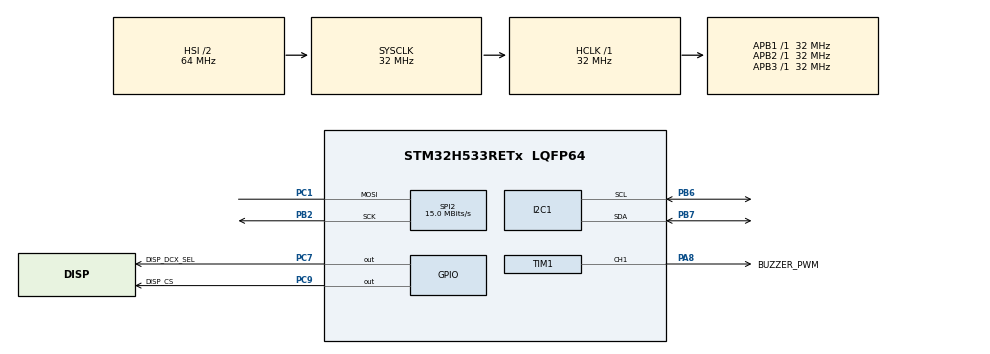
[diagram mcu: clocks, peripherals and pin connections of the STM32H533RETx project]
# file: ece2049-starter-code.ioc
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BOOTPATH.BootPathName=LEGACY
BOOTPATH.UserSelectedBootPath=LEGACY
CORTEX_M33_NS.Number-Cortex_Memory_Protection_Unit_Region0_OTP_RO_AREAS_Settings=MPU_REGION_NUMBER0
CORTEX_M33_NS.default_mode_Activation=1
CORTEX_M33_NS.userName=CORTEX_M33
GPDMA1.DESTINC_GPDMACH5=DMA_DINC_INCREMENTED
GPDMA1.DIRECTION_GPDMACH6=DMA_MEMORY_TO_PERIPH
GPDMA1.DIRECTION_GPDMACH7=DMA_MEMORY_TO_PERIPH
GPDMA1.IPHANDLE_GPDMACH5-SIMPLEREQUEST_GPDMACH5=__NULL
GPDMA1.IPHANDLE_GPDMACH6-SIMPLEREQUEST_GPDMACH6=__NULL
GPDMA1.IPHANDLE_GPDMACH7-SIMPLEREQUEST_GPDMACH7=__NULL
GPDMA1.PRIORITY_GPDMACH6=DMA_LOW_PRIORITY_LOW_WEIGHT
GPDMA1.PRIORITY_GPDMACH7=DMA_LOW_PRIORITY_HIGH_WEIGHT
GPDMA1.REQUEST_GPDMACH5=GPDMA1_REQUEST_I2C1_RX
GPDMA1.REQUEST_GPDMACH6=GPDMA1_REQUEST_I2C1_TX
GPDMA1.REQUEST_GPDMACH7=GPDMA1_REQUEST_SPI2_TX
GPDMA1.SRCINC_GPDMACH6=DMA_SINC_INCREMENTED
GPDMA1.SRCINC_GPDMACH7=DMA_SINC_INCREMENTED
I2C1.Timing=0x00707CBB
Mcu.Family=STM32H5
Mcu.Name=STM32H533RETx
Mcu.Package=LQFP64
NUCLEO-H533RE.BUTTON=1
NUCLEO-H533RE.LD4=true
NUCLEO-H533RE.VCP=true
NVIC.EXTI13_IRQn=true\:0\:0\:false\:false\:true\:false\:true\:true
NVIC.GPDMA1_Channel5_IRQn=true\:0\:0\:false\:false\:true\:false\:true\:true
NVIC.GPDMA1_Channel6_IRQn=true\:0\:0\:false\:false\:true\:false\:true\:true
NVIC.GPDMA1_Channel7_IRQn=true\:0\:0\:false\:false\:true\:false\:true\:true
NVIC.I2C1_ER_IRQn=true\:0\:0\:false\:false\:true\:true\:true\:true
NVIC.I2C1_EV_IRQn=true\:0\:0\:false\:false\:true\:true\:true\:true
NVIC.PriorityGroup=NVIC_PRIORITYGROUP_4
NVIC.SPI2_IRQn=true\:0\:0\:false\:false\:true\:true\:true\:true
PA13(JTMS/SWDIO).GPIO_Label=SWDIO
PA13(JTMS/SWDIO).Signal=DEBUG_JTMS-SWDIO
PA14(JTCK/SWCLK).GPIO_Label=SWCLK
PA14(JTCK/SWCLK).Signal=DEBUG_JTCK-SWCLK
PA15(JTDI).GPIO_Label=JTDI
PA15(JTDI).Signal=DEBUG_JTDI
PA2.Signal=USART2_TX
PA3.Signal=USART2_RX
PA8.GPIO_Label=BUZZER_PWM
PA8.GPIO_Speed=GPIO_SPEED_FREQ_LOW
PA8.Signal=S_TIM1_CH1
PB2.GPIO_Speed=GPIO_SPEED_FREQ_VERY_HIGH
PB2.Mode=Simplex_Bidirectional_Master
PB2.Signal=SPI2_SCK
PB3(JTDO/TRACESWO).GPIO_Label=SWO
PB3(JTDO/TRACESWO).Signal=DEBUG_JTDO-SWO
PB6.GPIO_Pu=GPIO_PULLUP
PB6.GPIO_Speed=GPIO_SPEED_FREQ_VERY_HIGH
PB6.Mode=I2C
PB6.Signal=I2C1_SCL
PB7.GPIO_Pu=GPIO_PULLUP
PB7.GPIO_Speed=GPIO_SPEED_FREQ_VERY_HIGH
PB7.Mode=I2C
PB7.Signal=I2C1_SDA
PC1.GPIO_Speed=GPIO_SPEED_FREQ_VERY_HIGH
PC1.Mode=Simplex_Bidirectional_Master
PC1.Signal=SPI2_MOSI
PC7.GPIO_Label=DISP_DCX_SEL
PC7.GPIO_Speed=GPIO_SPEED_FREQ_VERY_HIGH
PC7.Signal=GPIO_Output
PC9.GPIO_Label=DISP_CS
PC9.GPIO_PuPd=GPIO_PULLUP
PC9.GPIO_Speed=GPIO_SPEED_FREQ_VERY_HIGH
PC9.PinState=GPIO_PIN_SET
PC9.Signal=GPIO_Output
ProjectManager.HeapSize=0x200
ProjectManager.StackSize=0x400
ProjectManager.TargetToolchain=CMake
RCC.ADCFreq_Value=32000000
RCC.AHBFreq_Value=32000000
RCC.APB1Freq_Value=32000000
RCC.APB1TimFreq_Value=32000000
RCC.APB2Freq_Value=32000000
RCC.APB2TimFreq_Value=32000000
RCC.APB3Freq_Value=32000000
RCC.CSI_VALUE=4000000
RCC.CortexFreq_Value=32000000
RCC.EPOD_VALUE=4000000
RCC.HCLKFreq_Value=32000000
RCC.HSE_VALUE=25000000
RCC.HSI48_VALUE=48000000
RCC.HSI_VALUE=64000000
RCC.LSE_VALUE=32768
RCC.LSIRC_VALUE=32000
RCC.PLL1Q=6
RCC.PLLFRACN=0
RCC.PLLN=45
RCC.SYSCLKFreq_VALUE=32000000
RCC.USBFreq_Value=48000000
RCC.VCOOutputFreq_Value=180000000
SH.S_TIM1_CH1.0=TIM1_CH1,PWM Generation1 CH1
SPI2.CalculateBaudRate=15.0 MBits/s
SPI2.DataSize=SPI_DATASIZE_8BIT
SPI2.Direction=SPI_DIRECTION_1LINE
SPI2.Mode=SPI_MODE_MASTER
SPI2.VirtualType=VM_MASTER
TIM1.Channel-PWM\ Generation1\ CH1=TIM_CHANNEL_1
TIM1.OCFastMode_PWM-PWM\ Generation1\ CH1=TIM_OCFAST_DISABLE
TIM1.PeriodNoDither=1400
TIM1.PulseNoDither_1=600
VP_BOOTPATH_VS_BOOTPATH.Mode=BP_Activate
VP_CORTEX_M33_NS_VS_Hclk.Mode=Hclk_Mode
VP_GPDMA1_VS_GPDMACH5.Mode=SIMPLEREQUEST_GPDMACH5
VP_GPDMA1_VS_GPDMACH6.Mode=SIMPLEREQUEST_GPDMACH6
VP_GPDMA1_VS_GPDMACH7.Mode=SIMPLEREQUEST_GPDMACH7
VP_ICACHE_VS_ICACHE.Mode=DefaultMode
VP_MEMORYMAP_VS_MEMORYMAP.Mode=CurAppReg
VP_NUCLEO-H533RE_VS_BSP_COMMON.Mode=COMMON
VP_PWR_VS_LPOM.Mode=PowerOptimisation
VP_PWR_VS_SECSignals.Mode=Security/Privilege
VP_RNG_VS_RNG.Mode=RNG_Activate
board=NUCLEO-H533RE

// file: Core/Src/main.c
/* USER CODE BEGIN Header */
/**
  ******************************************************************************
  * @file           : main.c
  * @brief          : Main program body
  ******************************************************************************
  * @attention
  *
  * Copyright (c) 2026 STMicroelectronics.
  * All rights reserved.
  *
  * This software is licensed under terms that can be found in the LICENSE file
  * in the root directory of this software component.
  * If no LICENSE file comes with this software, it is provided AS-IS.
  *
  ******************************************************************************
  */
/* USER CODE END Header */
#include "main.h"

/* USER CODE BEGIN Includes */

#include "Adafruit_ST7735_Macros.h"
#include "Adafruit_TFTShield18_Macros.h"
#include "dwt_module.h"
#include "Adafruit_TFTShield18_API.h"
#include "Adafruit_ST7735_API.h"
#include "stm32h5xx_hal.h"

#include "buzzer.h"
#include "stm32h5xx_hal_tim.h"

/* USER CODE END Includes */

COM_InitTypeDef BspCOMInit;

I2C_HandleTypeDef hi2c1;
DMA_HandleTypeDef handle_GPDMA1_Channel6;
DMA_HandleTypeDef handle_GPDMA1_Channel5;

RNG_HandleTypeDef hrng;

SPI_HandleTypeDef hspi2;
DMA_HandleTypeDef handle_GPDMA1_Channel7;

TIM_HandleTypeDef htim1;

/* USER CODE BEGIN PV */

Buzzer buzzer1 = {
  &htim1,
  TIM_CHANNEL_1,
  false
};

extern Note const chromaticScale[NUM_NOTES];

/* USER CODE END PV */

void SystemClock_Config(void);
static void MPU_Config(void);
static void MX_GPIO_Init(void);
static void MX_GPDMA1_Init(void);
static void MX_I2C1_Init(void);
static void MX_ICACHE_Init(void);
static void MX_SPI2_Init(void);
static void MX_RNG_Init(void);
static void MX_TIM1_Init(void);

int main(void)
{

  /* MCU Configuration--------------------------------------------------------*/

  /* MPU Configuration--------------------------------------------------------*/
  MPU_Config();

  /* Reset of all peripherals, Initializes the Flash interface and the Systick. */
  HAL_Init();

  /* Configure the system clock */
  SystemClock_Config();

  /* Initialize all configured peripherals */
  MX_GPIO_Init();
  MX_GPDMA1_Init();
  MX_I2C1_Init();
  MX_ICACHE_Init();
  MX_SPI2_Init();
  MX_RNG_Init();
  MX_TIM1_Init();

  /* Initialize leds */
  BSP_LED_Init(LED_GREEN);

  /* Initialize USER push-button, will be used to trigger an interrupt each time it's pressed.*/
  BSP_PB_Init(BUTTON_USER, BUTTON_MODE_EXTI);

  /* Initialize COM1 port (115200, 8 bits (7-bit data + 1 stop bit), no parity */
  BspCOMInit.BaudRate   = 115200;
  BspCOMInit.WordLength = COM_WORDLENGTH_8B;
  BspCOMInit.StopBits   = COM_STOPBITS_1;
  BspCOMInit.Parity     = COM_PARITY_NONE;
  BspCOMInit.HwFlowCtl  = COM_HWCONTROL_NONE;
  if (BSP_COM_Init(COM1, &BspCOMInit) != BSP_ERROR_NONE)
  {
    Error_Handler();
  }

  /* Infinite loop */
  /* USER CODE BEGIN WHILE */

  // Enable the DWT delay timer module
  DWT_Init();
  if(!DWT_CheckInitialized()) printf("DWT failed to initialize!\n\r");

  // Initialize the TFT shield object in code and on chip, with failure handling
  TFTShield18_create(&hi2c1);
  if (!TFTShield18_begin())
  {
    printf("Failed to initialize TFT shield!\n\r");
    return 1;
  } else {
    printf("TFT shield initialized successfully!\n\r");
  }

  // Software reset the entire TFT shield to restore it to a known empty startup state
  TFTShield18_tftReset(true);
  DWT_delayMs(100);

  // Initialize the display object and the display itself to support graphics operations. No error handling is
  // provided since there is no way to read the status from the display. Proper operation of the display and response
  // to graphics commands provide enough confidence that the display is working correctly.
  Display_create(&hspi2, DISP_CS_Pin, DISP_CS_GPIO_Port, DISP_DCX_SEL_Pin, DISP_DCX_SEL_GPIO_Port);
  Display_init(INITR_BLACKTAB);
  DWT_delayMs(100);

  // Set the display to be in landscape mode and clear the screen
  Display_setRotation(1);
  Display_fillScreen(ST77XX_WHITE);

  // Turn on the TFT shield backlight to its maximum value
  TFTShield18_setBacklight(TFTSHIELD_BACKLIGHT_ON);

  /* Place extra user setup code here */

  Display_setTextSize(1, 1);
  Display_setTextColor(ST7735_BLACK);
  Display_setCursor(Display_width() / 2 - 58, Display_height() / 2 - 5);
  Display_print("Welcome to ECE 2049!");

  int32_t currNoteNum = 0;
  int32_t currOctave = 1;

  buzzerSetNote(&buzzer1, chromaticScale[currNoteNum], currOctave);
  buzzerDisable(&buzzer1);

  uint32_t lastButtonState = TFTSHIELD_BUTTON_ALL;

  while (1)
  {
    /* Place application loop code here */

    uint32_t buttons = TFTShield18_readButtons();

    if(lastButtonState != buttons) {
      if(!(buttons & TFTSHIELD_BUTTON_1)) {
        if(buzzer1.currBuzzerState) buzzerDisable(&buzzer1);
        else buzzerEnable(&buzzer1);
      } else if(!(buttons & TFTSHIELD_BUTTON_UP)) {
        currNoteNum++;
        if (currNoteNum >= NUM_NOTES) {
          currNoteNum %= NUM_NOTES;
          currOctave++;
        }

        printf("Current Note Num: %d, Current Octave: %d\n", currNoteNum, currOctave);

        buzzerSetNote(&buzzer1, chromaticScale[currNoteNum], currOctave);
      } else if (!(buttons & TFTSHIELD_BUTTON_DOWN)) {
        currNoteNum--;
        if (currNoteNum < 0) {
          currNoteNum = NUM_NOTES + currNoteNum;
          currOctave--;
        }

        printf("Current Note Num: %d, Current Octave: %d\n", currNoteNum, currOctave);

        buzzerSetNote(&buzzer1, chromaticScale[currNoteNum], currOctave);
      }
    }

    lastButtonState = buttons;

    /* USER CODE END WHILE */

  }
}

void SystemClock_Config(void)
{
  RCC_OscInitTypeDef RCC_OscInitStruct = {0};
  RCC_ClkInitTypeDef RCC_ClkInitStruct = {0};

  /** Configure the main internal regulator output voltage
  */
  __HAL_PWR_VOLTAGESCALING_CONFIG(PWR_REGULATOR_VOLTAGE_SCALE3);

  while(!__HAL_PWR_GET_FLAG(PWR_FLAG_VOSRDY)) {}

  /** Initializes the RCC Oscillators according to the specified parameters
  * in the RCC_OscInitTypeDef structure.
  */
  RCC_OscInitStruct.OscillatorType = RCC_OSCILLATORTYPE_HSI48|RCC_OSCILLATORTYPE_HSI
                              |RCC_OSCILLATORTYPE_CSI;
  RCC_OscInitStruct.HSIState = RCC_HSI_ON;
  RCC_OscInitStruct.HSIDiv = RCC_HSI_DIV2;
  RCC_OscInitStruct.HSICalibrationValue = RCC_HSICALIBRATION_DEFAULT;
  RCC_OscInitStruct.HSI48State = RCC_HSI48_ON;
  RCC_OscInitStruct.CSIState = RCC_CSI_ON;
  RCC_OscInitStruct.CSICalibrationValue = RCC_CSICALIBRATION_DEFAULT;
  RCC_OscInitStruct.PLL.PLLState = RCC_PLL_ON;
  RCC_OscInitStruct.PLL.PLLSource = RCC_PLL1_SOURCE_CSI;
  RCC_OscInitStruct.PLL.PLLM = 1;
  RCC_OscInitStruct.PLL.PLLN = 45;
  RCC_OscInitStruct.PLL.PLLP = 2;
  RCC_OscInitStruct.PLL.PLLQ = 6;
  RCC_OscInitStruct.PLL.PLLR = 2;
  RCC_OscInitStruct.PLL.PLLRGE = RCC_PLL1_VCIRANGE_2;
  RCC_OscInitStruct.PLL.PLLVCOSEL = RCC_PLL1_VCORANGE_WIDE;
  RCC_OscInitStruct.PLL.PLLFRACN = 0;
  if (HAL_RCC_OscConfig(&RCC_OscInitStruct) != HAL_OK)
  {
    Error_Handler();
  }

  /** Initializes the CPU, AHB and APB buses clocks
  */
  RCC_ClkInitStruct.ClockType = RCC_CLOCKTYPE_HCLK|RCC_CLOCKTYPE_SYSCLK
                              |RCC_CLOCKTYPE_PCLK1|RCC_CLOCKTYPE_PCLK2
                              |RCC_CLOCKTYPE_PCLK3;
  RCC_ClkInitStruct.SYSCLKSource = RCC_SYSCLKSOURCE_HSI;
  RCC_ClkInitStruct.AHBCLKDivider = RCC_SYSCLK_DIV1;
  RCC_ClkInitStruct.APB1CLKDivider = RCC_HCLK_DIV1;
  RCC_ClkInitStruct.APB2CLKDivider = RCC_HCLK_DIV1;
  RCC_ClkInitStruct.APB3CLKDivider = RCC_HCLK_DIV1;

  if (HAL_RCC_ClockConfig(&RCC_ClkInitStruct, FLASH_LATENCY_1) != HAL_OK)
  {
    Error_Handler();
  }

  /** Configure the programming delay
  */
  __HAL_FLASH_SET_PROGRAM_DELAY(FLASH_PROGRAMMING_DELAY_0);
}

static void MX_GPDMA1_Init(void)
{

  /* Peripheral clock enable */
  __HAL_RCC_GPDMA1_CLK_ENABLE();

  /* GPDMA1 interrupt Init */
    HAL_NVIC_SetPriority(GPDMA1_Channel5_IRQn, 0, 0);
    HAL_NVIC_EnableIRQ(GPDMA1_Channel5_IRQn);
    HAL_NVIC_SetPriority(GPDMA1_Channel6_IRQn, 0, 0);
    HAL_NVIC_EnableIRQ(GPDMA1_Channel6_IRQn);
    HAL_NVIC_SetPriority(GPDMA1_Channel7_IRQn, 0, 0);
    HAL_NVIC_EnableIRQ(GPDMA1_Channel7_IRQn);

}

static void MX_I2C1_Init(void)
{

  hi2c1.Instance = I2C1;
  hi2c1.Init.Timing = 0x00707CBB;
  hi2c1.Init.OwnAddress1 = 0;
  hi2c1.Init.AddressingMode = I2C_ADDRESSINGMODE_7BIT;
  hi2c1.Init.DualAddressMode = I2C_DUALADDRESS_DISABLE;
  hi2c1.Init.OwnAddress2 = 0;
  hi2c1.Init.OwnAddress2Masks = I2C_OA2_NOMASK;
  hi2c1.Init.GeneralCallMode = I2C_GENERALCALL_DISABLE;
  hi2c1.Init.NoStretchMode = I2C_NOSTRETCH_DISABLE;
  if (HAL_I2C_Init(&hi2c1) != HAL_OK)
  {
    Error_Handler();
  }

  /** Configure Analogue filter
  */
  if (HAL_I2CEx_ConfigAnalogFilter(&hi2c1, I2C_ANALOGFILTER_ENABLE) != HAL_OK)
  {
    Error_Handler();
  }

  /** Configure Digital filter
  */
  if (HAL_I2CEx_ConfigDigitalFilter(&hi2c1, 0) != HAL_OK)
  {
    Error_Handler();
  }

}

static void MX_ICACHE_Init(void)
{

  /** Enable instruction cache (default 2-ways set associative cache)
  */
  if (HAL_ICACHE_Enable() != HAL_OK)
  {
    Error_Handler();
  }

}

static void MX_RNG_Init(void)
{

  hrng.Instance = RNG;
  hrng.Init.ClockErrorDetection = RNG_CED_ENABLE;
  if (HAL_RNG_Init(&hrng) != HAL_OK)
  {
    Error_Handler();
  }

}

static void MX_SPI2_Init(void)
{

  /* SPI2 parameter configuration*/
  hspi2.Instance = SPI2;
  hspi2.Init.Mode = SPI_MODE_MASTER;
  hspi2.Init.Direction = SPI_DIRECTION_1LINE;
  hspi2.Init.DataSize = SPI_DATASIZE_8BIT;
  hspi2.Init.CLKPolarity = SPI_POLARITY_LOW;
  hspi2.Init.CLKPhase = SPI_PHASE_1EDGE;
  hspi2.Init.NSS = SPI_NSS_SOFT;
  hspi2.Init.BaudRatePrescaler = SPI_BAUDRATEPRESCALER_2;
  hspi2.Init.FirstBit = SPI_FIRSTBIT_MSB;
  hspi2.Init.TIMode = SPI_TIMODE_DISABLE;
  hspi2.Init.CRCCalculation = SPI_CRCCALCULATION_DISABLE;
  hspi2.Init.CRCPolynomial = 0x7;
  hspi2.Init.NSSPMode = SPI_NSS_PULSE_ENABLE;
  hspi2.Init.NSSPolarity = SPI_NSS_POLARITY_LOW;
  hspi2.Init.FifoThreshold = SPI_FIFO_THRESHOLD_01DATA;
  hspi2.Init.MasterSSIdleness = SPI_MASTER_SS_IDLENESS_00CYCLE;
  hspi2.Init.MasterInterDataIdleness = SPI_MASTER_INTERDATA_IDLENESS_00CYCLE;
  hspi2.Init.MasterReceiverAutoSusp = SPI_MASTER_RX_AUTOSUSP_DISABLE;
  hspi2.Init.MasterKeepIOState = SPI_MASTER_KEEP_IO_STATE_DISABLE;
  hspi2.Init.IOSwap = SPI_IO_SWAP_DISABLE;
  hspi2.Init.ReadyMasterManagement = SPI_RDY_MASTER_MANAGEMENT_INTERNALLY;
  hspi2.Init.ReadyPolarity = SPI_RDY_POLARITY_HIGH;
  if (HAL_SPI_Init(&hspi2) != HAL_OK)
  {
    Error_Handler();
  }

}

static void MX_TIM1_Init(void)
{

  TIM_MasterConfigTypeDef sMasterConfig = {0};
  TIM_OC_InitTypeDef sConfigOC = {0};
  TIM_BreakDeadTimeConfigTypeDef sBreakDeadTimeConfig = {0};

  htim1.Instance = TIM1;
  htim1.Init.Prescaler = 0;
  htim1.Init.CounterMode = TIM_COUNTERMODE_UP;
  htim1.Init.Period = 1400;
  htim1.Init.ClockDivision = TIM_CLOCKDIVISION_DIV1;
  htim1.Init.RepetitionCounter = 0;
  htim1.Init.AutoReloadPreload = TIM_AUTORELOAD_PRELOAD_DISABLE;
  if (HAL_TIM_PWM_Init(&htim1) != HAL_OK)
  {
    Error_Handler();
  }
  sMasterConfig.MasterOutputTrigger = TIM_TRGO_RESET;
  sMasterConfig.MasterOutputTrigger2 = TIM_TRGO2_RESET;
  sMasterConfig.MasterSlaveMode = TIM_MASTERSLAVEMODE_DISABLE;
  if (HAL_TIMEx_MasterConfigSynchronization(&htim1, &sMasterConfig) != HAL_OK)
  {
    Error_Handler();
  }
  sConfigOC.OCMode = TIM_OCMODE_PWM1;
  sConfigOC.Pulse = 600;
  sConfigOC.OCPolarity = TIM_OCPOLARITY_HIGH;
  sConfigOC.OCNPolarity = TIM_OCNPOLARITY_HIGH;
  sConfigOC.OCFastMode = TIM_OCFAST_DISABLE;
  sConfigOC.OCIdleState = TIM_OCIDLESTATE_RESET;
  sConfigOC.OCNIdleState = TIM_OCNIDLESTATE_RESET;
  if (HAL_TIM_PWM_ConfigChannel(&htim1, &sConfigOC, TIM_CHANNEL_1) != HAL_OK)
  {
    Error_Handler();
  }
  sBreakDeadTimeConfig.OffStateRunMode = TIM_OSSR_DISABLE;
  sBreakDeadTimeConfig.OffStateIDLEMode = TIM_OSSI_DISABLE;
  sBreakDeadTimeConfig.LockLevel = TIM_LOCKLEVEL_OFF;
  sBreakDeadTimeConfig.DeadTime = 0;
  sBreakDeadTimeConfig.BreakState = TIM_BREAK_DISABLE;
  sBreakDeadTimeConfig.BreakPolarity = TIM_BREAKPOLARITY_HIGH;
  sBreakDeadTimeConfig.BreakFilter = 0;
  sBreakDeadTimeConfig.BreakAFMode = TIM_BREAK_AFMODE_INPUT;
  sBreakDeadTimeConfig.Break2State = TIM_BREAK2_DISABLE;
  sBreakDeadTimeConfig.Break2Polarity = TIM_BREAK2POLARITY_HIGH;
  sBreakDeadTimeConfig.Break2Filter = 0;
  sBreakDeadTimeConfig.Break2AFMode = TIM_BREAK_AFMODE_INPUT;
  sBreakDeadTimeConfig.AutomaticOutput = TIM_AUTOMATICOUTPUT_DISABLE;
  if (HAL_TIMEx_ConfigBreakDeadTime(&htim1, &sBreakDeadTimeConfig) != HAL_OK)
  {
    Error_Handler();
  }
  HAL_TIM_MspPostInit(&htim1);

}

static void MX_GPIO_Init(void)
{
  GPIO_InitTypeDef GPIO_InitStruct = {0};

  /* GPIO Ports Clock Enable */
  __HAL_RCC_GPIOC_CLK_ENABLE();
  __HAL_RCC_GPIOB_CLK_ENABLE();
  __HAL_RCC_GPIOA_CLK_ENABLE();

  /*Configure GPIO pin Output Level */
  HAL_GPIO_WritePin(DISP_DCX_SEL_GPIO_Port, DISP_DCX_SEL_Pin, GPIO_PIN_RESET);

  /*Configure GPIO pin Output Level */
  HAL_GPIO_WritePin(DISP_CS_GPIO_Port, DISP_CS_Pin, GPIO_PIN_SET);

  /*Configure GPIO pin : DISP_DCX_SEL_Pin */
  GPIO_InitStruct.Pin = DISP_DCX_SEL_Pin;
  GPIO_InitStruct.Mode = GPIO_MODE_OUTPUT_PP;
  GPIO_InitStruct.Pull = GPIO_NOPULL;
  GPIO_InitStruct.Speed = GPIO_SPEED_FREQ_VERY_HIGH;
  HAL_GPIO_Init(DISP_DCX_SEL_GPIO_Port, &GPIO_InitStruct);

  /*Configure GPIO pin : DISP_CS_Pin */
  GPIO_InitStruct.Pin = DISP_CS_Pin;
  GPIO_InitStruct.Mode = GPIO_MODE_OUTPUT_PP;
  GPIO_InitStruct.Pull = GPIO_PULLUP;
  GPIO_InitStruct.Speed = GPIO_SPEED_FREQ_VERY_HIGH;
  HAL_GPIO_Init(DISP_CS_GPIO_Port, &GPIO_InitStruct);

}

 /* MPU Configuration */

void MPU_Config(void)
{
  MPU_Region_InitTypeDef MPU_InitStruct = {0};
  MPU_Attributes_InitTypeDef MPU_AttributesInit = {0};

  /* Disables the MPU */
  HAL_MPU_Disable();

  /** Initializes and configures the Region 0 and the memory to be protected
  */
  MPU_InitStruct.Enable = MPU_REGION_ENABLE;
  MPU_InitStruct.Number = MPU_REGION_NUMBER0;
  MPU_InitStruct.BaseAddress = 0x08FFF000;
  MPU_InitStruct.LimitAddress = 0x08FFFFFF;
  MPU_InitStruct.AttributesIndex = MPU_ATTRIBUTES_NUMBER0;
  MPU_InitStruct.AccessPermission = MPU_REGION_ALL_RO;
  MPU_InitStruct.DisableExec = MPU_INSTRUCTION_ACCESS_DISABLE;
  MPU_InitStruct.IsShareable = MPU_ACCESS_NOT_SHAREABLE;

  HAL_MPU_ConfigRegion(&MPU_InitStruct);

  /** Initializes and configures the Attribute 0 and the memory to be protected
  */
  MPU_AttributesInit.Number = MPU_ATTRIBUTES_NUMBER0;
  MPU_AttributesInit.Attributes = INNER_OUTER(MPU_NOT_CACHEABLE);

  HAL_MPU_ConfigMemoryAttributes(&MPU_AttributesInit);
  /* Enables the MPU */
  HAL_MPU_Enable(MPU_PRIVILEGED_DEFAULT);

}

void Error_Handler(void)
{
  __disable_irq();
  while (1)
  {
  }
}
